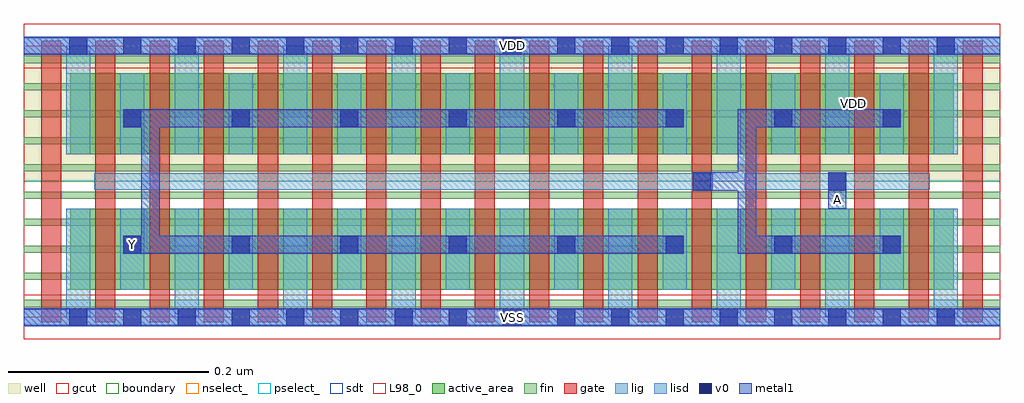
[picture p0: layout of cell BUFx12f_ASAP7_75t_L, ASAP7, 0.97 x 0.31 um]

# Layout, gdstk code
import gdstk
lib = gdstk.Library(unit=1e-6, precision=2.5e-10)
def R(c, l, rs):  # rectangles x0, y0, x1, y1
    for r in rs: c.add(gdstk.rectangle(r[:2], r[2:], *l))
def A(c, l, x, y, w, h, nx, ny, dx, dy):  # array of equal rectangles
    R(c, l, [(x+i*dx, y+j*dy, x+i*dx+w, y+j*dy+h) for i in range(nx) for j in range(ny)])
def P(c, l, *ps):  # polygons
    for p in ps: c.add(gdstk.Polygon(p, *l))
well = (1, 0)
fin = (2, 0)
gate = (7, 0)
gcut = (10, 0)
active_area = (11, 0)
nselect_ = (12, 0)
pselect_ = (13, 0)
lig = (16, 0)
lisd = (17, 0)
v0 = (18, 0)
metal1 = (19, 0)
sdt = (88, 0)
L98_0 = (98, 0)
boundary = (100, 0)

bufx12f_asap7_75t_l = lib.new_cell('BUFx12f_ASAP7_75t_L')
R(bufx12f_asap7_75t_l, well, [(0,0.135,0.972,0.27)])
A(bufx12f_asap7_75t_l, fin, 0, 0.01, 0.972, 0.007, 1, 10, 0, 0.027)
A(bufx12f_asap7_75t_l, gate, 0.017, -0.005, 0.02, 0.28, 18, 1, 0.054, 0)
R(bufx12f_asap7_75t_l, gcut, [(0,-0.022,0.972,0.022), (0,0.248,0.972,0.292)])
R(bufx12f_asap7_75t_l, active_area, [(0.046,0.027,0.926,0.108), (0.046,0.162,0.926,0.243)])
R(bufx12f_asap7_75t_l, nselect_, [(0,0,0.972,0.135)])
R(bufx12f_asap7_75t_l, pselect_, [(0,0.135,0.972,0.27)])
R(bufx12f_asap7_75t_l, lig, [(0,-0.008,0.972,0.008), (0.07,0.127,0.686,0.143), (0.718,0.127,0.902,0.143), (0,0.262,0.972,0.278)])
A(bufx12f_asap7_75t_l, lisd, 0.042, 0, 0.024, 0.108, 9, 2, 0.108, 0.162)
A(bufx12f_asap7_75t_l, lisd, 0.096, 0.027, 0.024, 0.081, 8, 2, 0.108, 0.135)
A(bufx12f_asap7_75t_l, v0, 0.045, -0.009, 0.018, 0.018, 17, 2, 0.054, 0.27)
A(bufx12f_asap7_75t_l, v0, 0.099, 0.063, 0.018, 0.018, 8, 2, 0.108, 0.126)
R(bufx12f_asap7_75t_l, v0, [(0.666,0.126,0.684,0.144), (0.801,0.126,0.819,0.144)])
R(bufx12f_asap7_75t_l, metal1, [(0,-0.009,0.972,0.009), (0.801,0.108,0.819,0.144), (0,0.261,0.972,0.279)])
P(bufx12f_asap7_75t_l, metal1, [(0.873,0.207),(0.711,0.207),(0.711,0.144),(0.666,0.144),(0.666,0.126),(0.711,0.126),(0.711,0.063),(0.873,0.063),(0.873,0.081),(0.729,0.081),(0.729,0.189),(0.873,0.189)],
  [(0.657,0.081),(0.135,0.081),(0.135,0.189),(0.657,0.189),(0.657,0.207),(0.099,0.207),(0.099,0.189),(0.117,0.189),(0.117,0.081),(0.099,0.081),(0.099,0.063),(0.657,0.063)])
A(bufx12f_asap7_75t_l, sdt, 0.042, 0.027, 0.024, 0.081, 17, 2, 0.054, 0.135)
R(bufx12f_asap7_75t_l, L98_0, [(0,0,0.972,0.27)])
R(bufx12f_asap7_75t_l, boundary, [(0,0,0.972,0.27)])
bufx12f_asap7_75t_l.add(gdstk.Label('Y', (0.108,0.072), layer=19, texttype=251))
bufx12f_asap7_75t_l.add(gdstk.Label('A', (0.81,0.117), layer=19, texttype=251))
bufx12f_asap7_75t_l.add(gdstk.Label('VSS', (0.486,0), layer=19, texttype=251))
bufx12f_asap7_75t_l.add(gdstk.Label('VDD', (0.486,0.27), layer=19, texttype=251))
bufx12f_asap7_75t_l.add(gdstk.Label('VDD', (0.826,0.213), layer=1, texttype=251))
bufx12f_asap7_75t_l.add(gdstk.Label('VSS', (1.118,0.213), layer=3, texttype=251))

lib.write_gds('BUFx12f_ASAP7_75t_L.gds')
